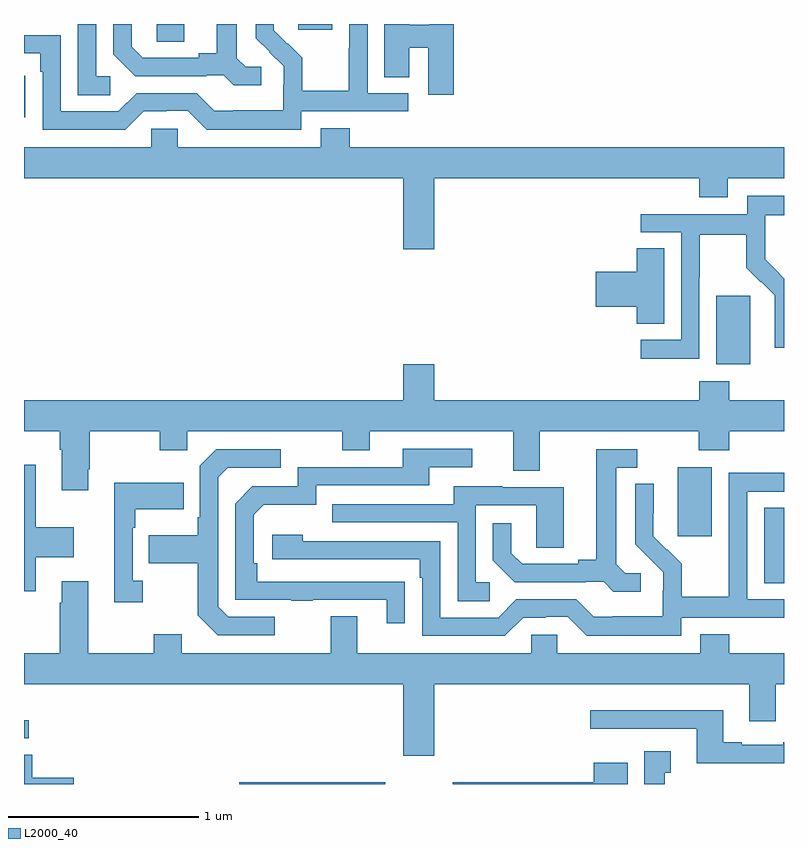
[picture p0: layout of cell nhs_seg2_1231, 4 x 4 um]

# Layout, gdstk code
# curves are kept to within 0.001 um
import gdstk
lib = gdstk.Library(unit=1e-6, precision=1e-09)
def R(c, l, rs):  # rectangles x0, y0, x1, y1
    for r in rs: c.add(gdstk.rectangle(r[:2], r[2:], *l))
def P(c, l, *ps):  # polygons
    for p in ps: c.add(gdstk.Polygon(p, *l))
L2000_40 = (2000, 40)

nhs_seg2_1231 = lib.new_cell('nhs_seg2_1231')
R(nhs_seg2_1231, L2000_40, [(176.134,625.8,176.9,625.808), (175,626.04,175.024,626.136), (178.895,626.857,179,627.254), (178.442,627.105,178.621,627.466), (178.643,628.01,178.822,628.371), (175,629.31,175.007,629.528), (175.698,629.707,175.843,629.8), (176.444,629.769,176.623,629.8)])
P(nhs_seg2_1231, L2000_40, [(177.263,629.8),(177.132,629.8),(177.132,629.797),(177.028,629.797),(177.028,629.8),(176.897,629.8),(176.897,629.521),(177.028,629.521),(177.028,629.675),(177.128,629.675),(177.128,629.427),(177.263,629.427)],
  [(176.46,629.34),(177.022,629.34),(177.022,629.436),(176.808,629.436),(176.808,629.8),(176.712,629.8),(176.712,629.672),(176.71,629.672),(176.71,629.449),(176.465,629.449),(176.465,629.623),(176.388,629.7),(176.385,629.697),(176.315,629.768),(176.315,629.8),(176.22,629.8),(176.22,629.726),(176.366,629.578),(176.366,629.481),(176.364,629.481),(176.364,629.347),(176.101,629.347),(176.101,629.343),(176.001,629.343),(175.908,629.436),(175.593,629.436),(175.497,629.34),(175.194,629.34),(175.194,629.742),(175,629.742),(175,629.646),(175.085,629.646),(175.085,629.549),(175.098,629.549),(175.098,629.244),(175.533,629.244),(175.629,629.34),(175.748,629.34),(175.748,629.343),(175.863,629.343),(175.963,629.243),(176.46,629.243)],
  [(175.453,629.526),(175.38,629.526),(175.38,629.8),(175.284,629.8),(175.284,629.425),(175.453,629.425)],
  [(176.248,629.574),(176.166,629.574),(176.119,629.621),(176.119,629.8),(176.015,629.8),(176.015,629.645),(175.919,629.645),(175.919,629.622),(175.624,629.622),(175.567,629.679),(175.567,629.8),(175.47,629.8),(175.47,629.642),(175.586,629.526),(175.958,629.526),(175.958,629.529),(176.052,629.529),(176.104,629.477),(176.248,629.477)],
  [(177.16,628.988),(178.553,628.988),(178.553,628.889),(178.705,628.889),(178.705,628.988),(179,628.988),(179,629.152),(176.714,629.152),(176.714,629.251),(176.561,629.251),(176.561,629.152),(175.809,629.152),(175.809,629.25),(175.671,629.25),(175.671,629.152),(175,629.152),(175,628.988),(176.996,628.988),(176.996,628.614),(177.16,628.614)],
  [(178.554,628.468),(178.557,628.468),(178.557,628.692),(178.801,628.692),(178.801,628.517),(178.878,628.44),(178.881,628.443),(178.952,628.373),(178.952,628.25),(178.95,628.25),(178.95,628.096),(179,628.096),(179,628.46),(178.973,628.487),(178.974,628.488),(178.9,628.562),(178.9,628.659),(178.902,628.659),(178.902,628.793),(179,628.793),(179,628.897),(178.806,628.897),(178.806,628.8),(178.245,628.8),(178.245,628.704),(178.458,628.704),(178.458,628.137),(178.245,628.137),(178.245,628.039),(178.554,628.039)],
  [(178.369,628.619),(178.226,628.619),(178.226,628.496),(178.008,628.496),(178.008,628.313),(178.226,628.313),(178.226,628.222),(178.369,628.222)],
  [(175.339,627.457),(175.347,627.457),(175.347,627.656),(175.714,627.656),(175.714,627.557),(175.86,627.557),(175.86,627.656),(176.674,627.656),(176.674,627.557),(176.821,627.557),(176.821,627.656),(177.575,627.656),(177.575,627.448),(177.715,627.448),(177.715,627.656),(178.552,627.656),(178.552,627.557),(178.712,627.557),(178.712,627.656),(179,627.656),(179,627.82),(178.713,627.82),(178.713,627.919),(178.553,627.919),(178.553,627.82),(177.16,627.82),(177.16,628.009),(176.996,628.009),(176.996,627.82),(175,627.82),(175,627.656),(175.187,627.656),(175.187,627.56),(175.199,627.56),(175.199,627.345),(175.339,627.345)],
  [(177.005,626.864),(176.228,626.865),(176.228,626.962),(176.208,626.962),(176.208,627.216),(176.261,627.269),(176.538,627.269),(176.538,627.372),(177.133,627.372),(177.133,627.468),(177.358,627.468),(177.358,627.564),(176.993,627.564),(176.993,627.468),(176.442,627.468),(176.442,627.366),(176.202,627.366),(176.112,627.276),(176.112,626.769),(176.407,626.769),(176.407,626.764),(176.519,626.764),(176.519,626.769),(176.909,626.769),(176.909,626.646),(177.005,626.646)],
  [(178.246,626.91),(178.164,626.91),(178.117,626.957),(178.117,627.465),(178.228,627.465),(178.228,627.561),(178.013,627.561),(178.013,626.981),(177.917,626.981),(177.917,626.958),(177.622,626.958),(177.565,627.015),(177.565,627.172),(177.468,627.172),(177.468,626.978),(177.584,626.862),(177.956,626.862),(177.956,626.865),(178.05,626.865),(178.102,626.813),(178.246,626.813)],
  [(176.32,626.679),(176.076,626.679),(176.022,626.733),(176.022,627.414),(176.073,627.465),(176.35,627.465),(176.35,627.561),(176.013,627.561),(175.926,627.474),(175.926,627.205),(175.914,627.205),(175.914,627.109),(175.657,627.109),(175.657,626.962),(175.914,626.962),(175.914,626.689),(176.019,626.583),(176.32,626.583)],
  [(175.063,626.993),(175.261,626.993),(175.261,627.151),(175.063,627.151),(175.063,627.481),(175,627.481),(175,626.814),(175.063,626.814)],
  [(178.458,626.676),(179,626.676),(179,626.772),(178.806,626.772),(178.806,627.339),(179,627.339),(179,627.438),(178.71,627.438),(178.71,627.008),(178.708,627.008),(178.708,626.785),(178.463,626.785),(178.463,626.959),(178.386,627.036),(178.383,627.033),(178.313,627.104),(178.314,627.38),(178.218,627.38),(178.218,627.062),(178.364,626.914),(178.364,626.817),(178.362,626.817),(178.362,626.683),(178.099,626.683),(178.099,626.679),(177.999,626.679),(177.906,626.772),(177.591,626.772),(177.495,626.676),(177.192,626.676),(177.192,627.078),(176.468,627.078),(176.468,627.112),(176.307,627.112),(176.307,626.982),(177.083,626.982),(177.083,626.885),(177.096,626.885),(177.096,626.58),(177.531,626.58),(177.627,626.676),(177.746,626.676),(177.746,626.679),(177.861,626.679),(177.961,626.579),(178.458,626.579)],
  [(175.624,626.87),(175.572,626.87),(175.572,627.149),(175.585,627.149),(175.585,627.245),(175.841,627.245),(175.841,627.385),(175.475,627.385),(175.475,626.757),(175.624,626.757)],
  [(177.451,626.862),(177.378,626.862),(177.378,627.267),(177.696,627.267),(177.696,627.043),(177.841,627.043),(177.841,627.363),(177.517,627.363),(177.517,627.367),(177.263,627.367),(177.263,627.273),(176.623,627.273),(176.623,627.177),(177.282,627.177),(177.282,626.761),(177.451,626.761)],
  [(177.16,626.324),(178.817,626.324),(178.817,626.13),(178.957,626.13),(178.957,626.324),(179,626.324),(179,626.488),(178.712,626.488),(178.712,626.587),(178.559,626.587),(178.559,626.488),(177.807,626.488),(177.807,626.586),(177.669,626.586),(177.669,626.488),(176.755,626.488),(176.755,626.683),(176.615,626.683),(176.615,626.488),(175.831,626.488),(175.831,626.587),(175.684,626.587),(175.684,626.488),(175.339,626.488),(175.339,626.866),(175.199,626.866),(175.199,626.753),(175.187,626.753),(175.187,626.488),(175,626.488),(175,626.324),(176.996,626.324),(176.996,625.95),(177.16,625.95)],
  [(179,626.02),(178.997,626.02),(178.997,626.007),(178.777,626.007),(178.777,626.02),(178.681,626.02),(178.681,626.188),(177.981,626.188),(177.981,626.091),(178.541,626.091),(178.541,625.91),(179,625.91)],
  [(178.372,625.859),(178.405,625.859),(178.405,625.972),(178.265,625.972),(178.265,625.8),(178.372,625.8)],
  [(175.261,625.832),(175.043,625.832),(175.043,625.955),(175,625.955),(175,625.8),(175.261,625.8)],
  [(178.177,625.912),(177.998,625.912),(177.998,625.808),(177.256,625.808),(177.256,625.8),(178.177,625.8)])

lib.write_gds('nhs_seg2_1231.gds')
